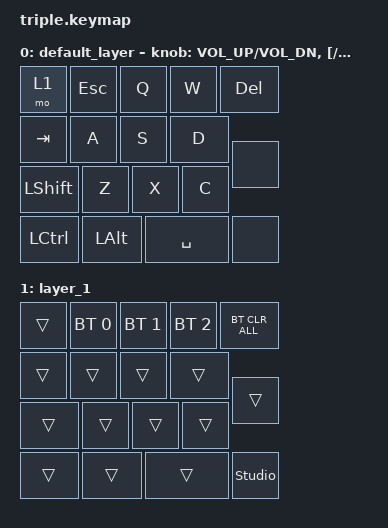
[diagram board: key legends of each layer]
/*
 * Copyright (c) 2021 Nick Winans
 *
 * SPDX-License-Identifier: MIT
 */

#include <behaviors.dtsi>
#include <dt-bindings/zmk/bt.h>
#include <dt-bindings/zmk/keys.h>

/ {
    keymap {
        compatible = "zmk,keymap";

        default_layer {
            bindings = <
&mo 1           &kp ESC       &kp Q  &kp W      &kp DEL
&kp TAB         &kp A         &kp S  &kp D
&kp LEFT_SHIFT  &kp Z         &kp X  &kp C      &none
&kp LCTRL       &kp LEFT_ALT         &kp SPACE  &none
            >;

            sensor-bindings =
                <&inc_dec_kp C_VOL_UP C_VOL_DN>,
                <&inc_dec_kp LBKT RBKT>,
                <&inc_dec_kp MINUS EQUAL>;
        };

        layer_1 {
            bindings = <
&trans  &bt BT_SEL 0  &bt BT_SEL 1  &bt BT_SEL 2  &bt BT_CLR_ALL
&trans  &trans        &trans        &trans
&trans  &trans        &trans        &trans        &trans
&trans  &trans                      &trans        &studio_unlock
            >;
        };
    };
};
